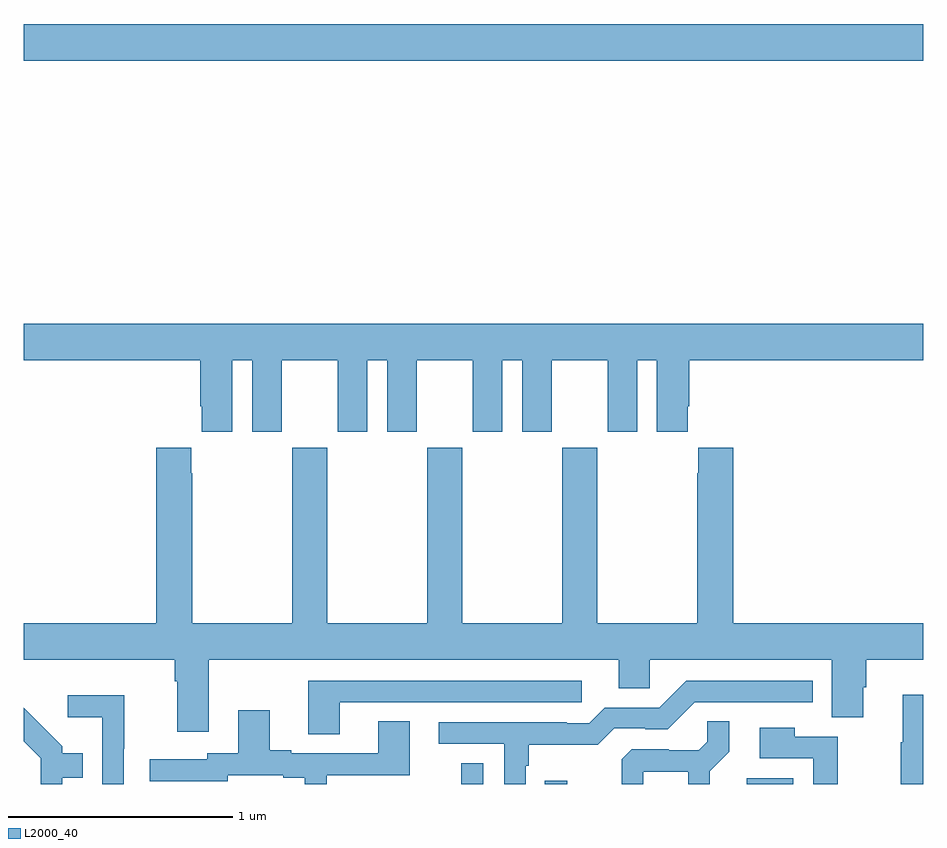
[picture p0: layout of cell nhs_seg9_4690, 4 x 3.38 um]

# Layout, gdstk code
import gdstk
lib = gdstk.Library(unit=1e-6, precision=1e-09)
def R(c, l, rs):  # rectangles x0, y0, x1, y1
    for r in rs: c.add(gdstk.rectangle(r[:2], r[2:], *l))
def P(c, l, *ps):  # polygons
    for p in ps: c.add(gdstk.Polygon(p, *l))
L2000_40 = (2000, 40)

nhs_seg9_4690 = lib.new_cell('nhs_seg9_4690')
R(nhs_seg9_4690, L2000_40, [(382.945,1230.5,383.043,1230.593), (383.317,1230.5,383.418,1230.514), (384.215,1230.5,384.421,1230.526), (381,1233.716,385,1233.88)])
P(nhs_seg9_4690, L2000_40, [(381.928,1232.384),(382.016,1232.384),(382.016,1232.067),(382.147,1232.067),(382.147,1232.384),(382.397,1232.384),(382.397,1232.067),(382.528,1232.067),(382.528,1232.384),(382.616,1232.384),(382.616,1232.067),(382.747,1232.067),(382.747,1232.384),(382.997,1232.384),(382.997,1232.067),(383.128,1232.067),(383.128,1232.384),(383.216,1232.384),(383.216,1232.067),(383.347,1232.067),(383.347,1232.384),(383.597,1232.384),(383.597,1232.067),(383.728,1232.067),(383.728,1232.384),(383.816,1232.384),(383.816,1232.067),(383.953,1232.067),(383.953,1232.179),(383.96,1232.179),(383.96,1232.384),(385,1232.384),(385,1232.548),(381,1232.548),(381,1232.384),(381.785,1232.384),(381.785,1232.179),(381.791,1232.179),(381.791,1232.067),(381.928,1232.067)],
  [(381.823,1231.052),(383.645,1231.052),(383.645,1230.925),(383.784,1230.925),(383.784,1231.052),(384.593,1231.052),(384.593,1230.796),(384.733,1230.796),(384.733,1230.93),(384.746,1230.93),(384.746,1231.052),(385,1231.052),(385,1231.216),(384.155,1231.216),(384.155,1231.996),(383.999,1231.996),(383.999,1231.883),(383.995,1231.883),(383.995,1231.216),(383.55,1231.216),(383.55,1231.996),(383.395,1231.996),(383.395,1231.216),(382.95,1231.216),(382.95,1231.996),(382.795,1231.996),(382.795,1231.216),(382.35,1231.216),(382.35,1231.996),(382.195,1231.996),(382.195,1231.216),(381.75,1231.216),(381.75,1231.883),(381.745,1231.883),(381.745,1231.996),(381.59,1231.996),(381.59,1231.216),(381,1231.216),(381,1231.052),(381.671,1231.052),(381.671,1230.956),(381.683,1230.956),(381.683,1230.732),(381.823,1230.732)],
  [(382.405,1230.864),(383.482,1230.864),(383.482,1230.96),(382.265,1230.96),(382.265,1230.721),(382.405,1230.721)],
  [(383.232,1230.581),(383.245,1230.581),(383.245,1230.674),(383.552,1230.674),(383.625,1230.747),(383.764,1230.747),(383.764,1230.744),(383.865,1230.744),(383.985,1230.864),(384.508,1230.864),(384.508,1230.96),(383.946,1230.96),(383.826,1230.84),(383.583,1230.84),(383.514,1230.771),(383.414,1230.771),(383.414,1230.774),(382.845,1230.774),(382.845,1230.678),(383.136,1230.678),(383.136,1230.5),(383.232,1230.5)],
  [(385,1230.898),(384.908,1230.898),(384.908,1230.685),(384.901,1230.685),(384.901,1230.5),(385,1230.5)],
  [(381.444,1230.656),(381.447,1230.656),(381.447,1230.895),(381.195,1230.895),(381.195,1230.797),(381.348,1230.797),(381.348,1230.5),(381.444,1230.5)],
  [(381.172,1230.528),(381.263,1230.528),(381.263,1230.637),(381.171,1230.637),(381.171,1230.669),(381,1230.84),(381,1230.69),(381.075,1230.615),(381.075,1230.5),(381.172,1230.5)],
  [(382.347,1230.54),(382.717,1230.54),(382.717,1230.779),(382.577,1230.779),(382.577,1230.636),(382.189,1230.636),(382.189,1230.649),(382.093,1230.649),(382.093,1230.829),(381.953,1230.829),(381.953,1230.636),(381.816,1230.636),(381.816,1230.609),(381.561,1230.609),(381.561,1230.513),(381.906,1230.513),(381.906,1230.54),(382.154,1230.54),(382.154,1230.528),(382.25,1230.528),(382.25,1230.5),(382.347,1230.5)],
  [(383.756,1230.554),(383.954,1230.554),(383.954,1230.5),(384.051,1230.5),(384.051,1230.557),(384.137,1230.643),(384.137,1230.779),(384.039,1230.779),(384.039,1230.688),(384.002,1230.651),(383.868,1230.651),(383.868,1230.654),(383.703,1230.654),(383.66,1230.61),(383.66,1230.5),(383.756,1230.5)],
  [(384.619,1230.711),(384.429,1230.711),(384.429,1230.751),(384.273,1230.751),(384.273,1230.615),(384.51,1230.615),(384.51,1230.5),(384.619,1230.5)])

lib.write_gds('nhs_seg9_4690.gds')
